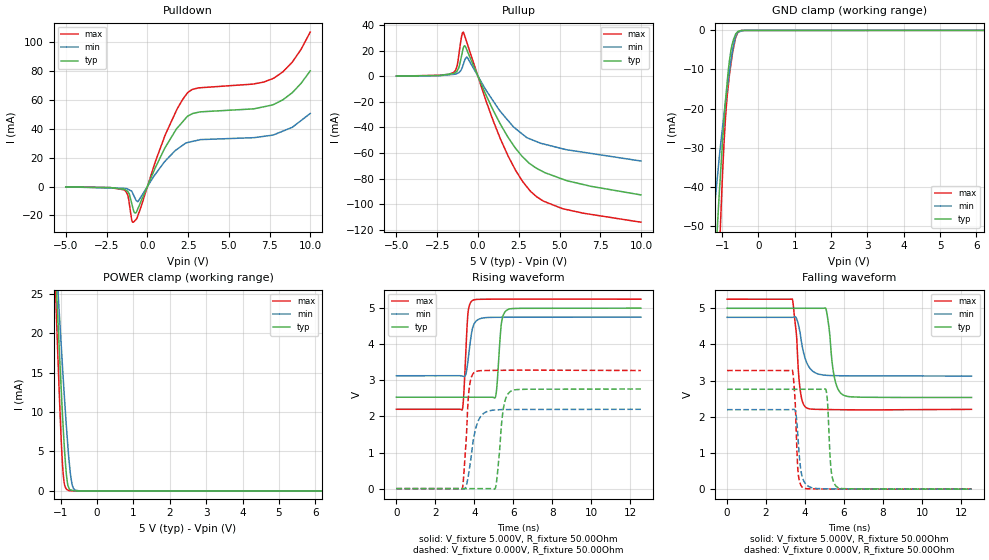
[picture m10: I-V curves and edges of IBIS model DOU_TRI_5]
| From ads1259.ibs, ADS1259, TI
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|   3-state Output DOU_TRI model 5V
[Model]   DOU_TRI_5
Model_type   I/O
|Signals   DOUT
| variable   typ   min   max
|C_comp Output average
C_comp   4.07E-12   4.94E-12   3.21E-12
|C_comp Output Low
|C_comp   4.30E-12   5.17E-12   3.47E-12
|C_comp Output High
|C_comp   6.39E-12   6.08E-12   7.58E-12
Vinl = 1.000V
Vinh = 4.000V
Vmeas = 1.500V
Cref = 0.000F
[Voltage Range]   5.000V   4.750V   5.250V
[Temperature Range]   27.0   105.0   -40.0
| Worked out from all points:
|   slope of the pulldown table from 0 to 0.75 V, typ, clamps not added: 39.3 ohm
|   slope of the pullup table from 0 to 0.75 V, typ, clamps not added: 34.4 ohm
|   GND clamp passes 1 mA (typ) near -0.63 V on its own axis
|   POWER clamp passes 1 mA (typ) near -0.82 V on its own axis
|   falling waveform, V_fixture 5.000V, R_fixture 50.00Ohm: 20-80 % time 313ps typ, 416ps min, 251ps max; typ from 5 V to 2.53 V
|   rising waveform, V_fixture 5.000V, R_fixture 50.00Ohm: 20-80 % time 189ps typ, 247ps min, 165ps max; typ from 2.53 V to 5 V
|   rising waveform, V_fixture 0.000V, R_fixture 50.00Ohm: 20-80 % time 278ps typ, 404ps min, 213ps max; typ from 0 V to 2.76 V
|   falling waveform, V_fixture 0.000V, R_fixture 50.00Ohm: 20-80 % time 159ps typ, 220ps min, 148ps max; typ from 2.76 V to 0.003 V
[Pulldown]
|   Voltage   I(typ)   I(min)   I(max)
-5V       -197.8uA   -151.9uA   -197.1uA
-1.437V   -1.798mA   -1.196mA   -2.168mA
-1.201V   -3.4mA     -1.707mA   -5.859mA
-960.9mV  -11.44mA   -3.096mA   -22.87mA
-847.3mV  -16.43mA   -5.724mA   -24.63mA
-730mV    -18.34mA   -8.567mA   -23.23mA
-555.8mV  -14.67mA   -10.08mA   -19.38mA
1.108V    27.45mA    17.88mA    36.19mA
2.466V    48.82mA    30.58mA    65.07mA
7.67V     56.65mA    35.71mA    74.82mA
8.853V    64.88mA    40.99mA    85.94mA
9.985V    80.24mA    50.73mA    107.2mA
[GND Clamp]
|   Voltage   I(typ)   I(min)   I(max)
-5V       -836.6mA   -581.6mA   -1.17A
-1.251V   -70.72mA   -49.8mA    -102.6mA
-1.145V   -52.71mA   -38.98mA   -74.48mA
-1.094V   -44.29mA   -34.08mA   -61.68mA
-1.062V   -39.43mA   -31.03mA   -53.91mA
-1.003V   -30.64mA   -26.07mA   -40.05mA
-945.2mV  -22.87mA   -21.24mA   -28.48mA
-861mV    -13.36mA   -14.9mA    -16.91mA
-737.8mV  -4.232mA   -6.58mA    -7.418mA
-633.6mV  -1.11mA    -1.731mA   -2.055mA
-563.7mV  -280.3uA   -434uA     -524.7uA
9.985V    0A         0A         0A
[Pullup]
|   Voltage   I(typ)   I(min)   I(max)
-5V       265.1uA    223.2uA    280.9uA
-1.511V   2.343mA    1.633mA    2.969mA
-1.291V   4.032mA    2.258mA    7.608mA
-1.013V   15.79mA    5.565mA    30.9mA
-905.4mV  22.07mA    9.199mA    34.78mA
-808.8mV  24.08mA    12.9mA     31.59mA
-647.8mV  19.78mA    14.74mA    25.32mA
1.38V     -37.55mA   -27.58mA   -49.09mA
2.303V    -56.29mA   -40.88mA   -73.52mA
3.181V    -68.4mA    -48.95mA   -89.47mA
5.155V    -80.36mA   -56.59mA   -103.5mA
9.985V    -92.85mA   -66.28mA   -114.2mA
[POWER Clamp]
|   Voltage   I(typ)   I(min)   I(max)
-5V       458.6mA    365.2mA    591.4mA
-1.165V   30.35mA    32.38mA    28.16mA
-1.126V   26.28mA    29.25mA    22.95mA
-1.11V    24.72mA    27.99mA    20.85mA
-1.048V   18.59mA    23.06mA    13.14mA
-945.2mV  8.97mA     15.14mA    2.833mA
-905.4mV  5.762mA    12.26mA    1mA
-852.6mV  2.41mA     8.58mA     291.7uA
-778.6mV  392.1uA    4.173mA    50.94uA
-672.8mV  57.35uA    561.7uA    3.851uA
-492mV    2.985uA    2.894uA    3.785uA
9.985V    0A         0A         0A
[Ramp]
R_load = 50.00Ohm
|   typ   min   max
dV/dt_r   1.655V/277.532ps   1.319V/402.689ps   1.963V/212.325ps
dV/dt_f   1.479V/312.352ps 973.936mV/415.531ps   1.826V/251.332ps
[Falling Waveform]
V_fixture = 5.000V
V_fixture_min = 4.750V
V_fixture_max = 5.250V
R_fixture = 50.00Ohm
|   Time   V(typ)   V(min)   V(max)
0s        5V         4.75V      5.25V
3.348ns   5V         4.75V      5.254V
3.558ns   5V         4.725V     4.275V
3.66ns    5V         4.546V     3.261V
3.755ns   5V         4.292V     2.726V
4.109ns   5V         3.47V      2.239V
5.064ns   4.994V     3.149V     2.201V
5.485ns   3.146V     3.138V     2.198V
5.946ns   2.606V     3.134V     2.195V
12.54ns   2.534V     3.127V     2.206V
[Rising Waveform]
V_fixture = 5.000V
V_fixture_min = 4.750V
V_fixture_max = 5.250V
R_fixture = 50.00Ohm
|   Time   V(typ)   V(min)   V(max)
0s        2.532V     3.127V     2.198V
3.374ns   2.532V     3.121V     2.182V
3.455ns   2.532V     3.106V     2.603V
3.669ns   2.532V     3.529V     4.846V
3.932ns   2.532V     4.494V     5.22V
5.082ns   2.542V     4.745V     5.248V
5.172ns   2.951V     4.746V     5.248V
5.376ns   4.534V     4.746V     5.249V
5.673ns   4.949V     4.747V     5.25V
12.54ns   4.999V     4.75V      5.247V
[Rising Waveform]
V_fixture = 0.000V
V_fixture_min = 0.000V
V_fixture_max = 0.000V
R_fixture = 50.00Ohm
|   Time   V(typ)   V(min)   V(max)
0s        -1.41uV    2.619uV    1.094uV
3.373ns   -38.23uV   -2.49mV    -10.86mV
3.467ns   -38.01uV   -9.716mV   456.1mV
3.727ns   -32.62uV   481.4mV    2.742V
4.053ns   -13.57uV   1.633V     3.239V
4.407ns   -4.737uV   2.052V     3.27V
5.079ns   17.3mV     2.18V      3.276V
5.468ns   2.151V     2.189V     3.278V
5.849ns   2.692V     2.191V     3.28V
12.54ns   2.759V     2.198V     3.272V
[Falling Waveform]
V_fixture = 0.000V
V_fixture_min = 0.000V
V_fixture_max = 0.000V
R_fixture = 50.00Ohm
|   Time   V(typ)   V(min)   V(max)
0s        2.761V     2.198V     3.279V
3.351ns   2.761V     2.202V     3.285V
3.49ns    2.761V     2.18V      2.455V
3.641ns   2.761V     1.408V     483.6mV
3.915ns   2.761V     251.4mV    32.09mV
5.066ns   2.758V     9.789mV    4.401mV
5.155ns   2.385V     9.289mV    4.001mV
5.35ns    475.4mV    8.504mV    3.204mV
5.646ns   57.21mV    7.644mV    2.174mV
12.54ns   2.71mV     2.619uV    6.654mV
